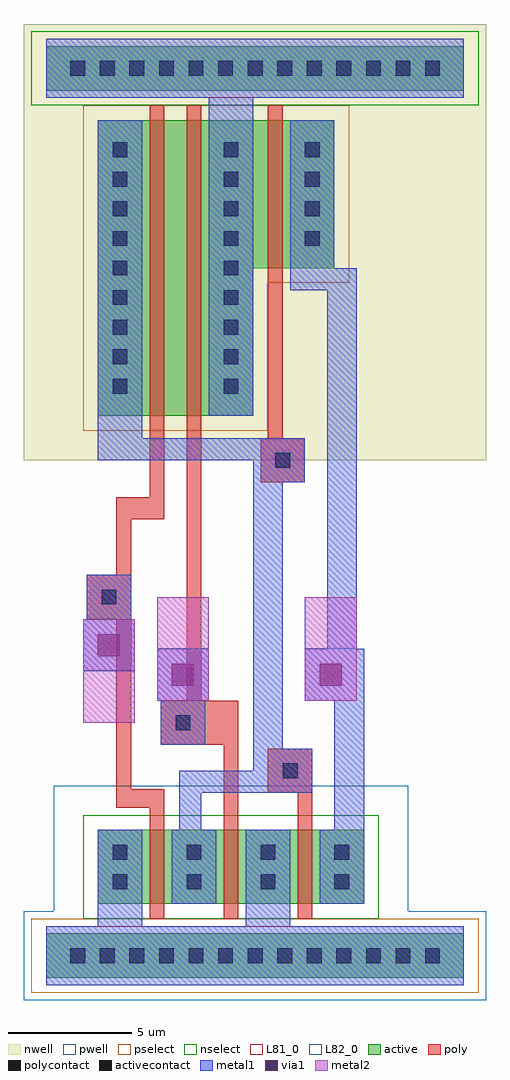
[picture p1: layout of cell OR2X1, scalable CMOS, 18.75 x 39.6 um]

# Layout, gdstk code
import gdstk
lib = gdstk.Library(unit=1e-6, precision=1e-09)
def R(c, l, rs):  # rectangles x0, y0, x1, y1
    for r in rs: c.add(gdstk.rectangle(r[:2], r[2:], *l))
def A(c, l, x, y, w, h, nx, ny, dx, dy):  # array of equal rectangles
    R(c, l, [(x+i*dx, y+j*dy, x+i*dx+w, y+j*dy+h) for i in range(nx) for j in range(ny)])
pwell = (41, 0)
nwell = (42, 0)
active = (43, 0)
pselect = (44, 0)
nselect = (45, 0)
poly = (46, 0)
polycontact = (47, 0)
activecontact = (48, 0)
metal1 = (49, 0)
via1 = (50, 0)
metal2 = (51, 0)
L81_0 = (81, 0)
L82_0 = (82, 0)

or2x1 = lib.new_cell('OR2X1')
R(or2x1, pwell, [(-1.95,-1.8,16.8,1.8), (-0.75,1.8,13.65,6.9)])
R(or2x1, nwell, [(-1.95,20.1,16.8,37.8)])
R(or2x1, active, [(-1.05,-0.9,15.9,0.9), (1.05,2.1,11.85,5.1), (1.05,21.9,7.35,27.9), (1.05,27.9,10.65,33.9), (-1.05,35.1,15.9,36.9)])
R(or2x1, pselect, [(-1.65,-1.5,16.5,1.5), (0.45,21.3,7.95,27.3), (0.45,27.3,11.25,34.5)])
R(or2x1, nselect, [(0.45,1.5,12.45,5.7), (-1.65,34.5,16.5,37.5)])
R(or2x1, poly, [(3.15,1.5,3.75,6), (6.15,1.5,6.75,8.55), (9.15,1.5,9.75,6.6), (1.8,6,3.75,6.75), (7.95,6.6,9.75,8.4), (1.8,6.75,2.4,13.65), (3.6,8.55,6.75,10.35), (4.65,10.35,5.25,34.5), (0.6,13.65,2.4,15.45), (1.8,15.45,2.4,17.7), (1.8,17.7,3.75,18.6), (3.15,18.6,3.75,34.5), (7.65,19.2,9.45,21), (7.95,21,8.55,34.5)])
R(or2x1, polycontact, [(8.55,7.2,9.15,7.8), (4.2,9.15,4.8,9.75), (1.2,14.25,1.8,14.85), (8.25,19.8,8.85,20.4)])
A(or2x1, activecontact, -0.07, -0.3, 0.6, 0.6, 13, 2, 1.2, 36)
A(or2x1, activecontact, 1.65, 2.7, 0.6, 0.6, 4, 2, 3, 1.2)
A(or2x1, activecontact, 1.65, 22.8, 0.6, 0.6, 1, 9, 0, 1.2)
A(or2x1, activecontact, 6.15, 22.8, 0.6, 0.6, 1, 9, 0, 1.2)
A(or2x1, activecontact, 9.45, 28.8, 0.6, 0.6, 1, 4, 0, 1.2)
R(or2x1, metal1, [(-1.05,-1.2,15.9,1.2), (1.05,1.2,2.85,5.1), (7.05,1.2,8.85,5.1), (4.05,2.1,5.85,5.1), (10.05,2.1,11.85,5.1), (4.35,5.1,5.25,6.6), (10.65,5.1,11.85,10.35), (4.35,6.6,9.75,7.5), (7.35,7.5,9.75,8.4), (7.35,8.4,8.55,19.2), (3.6,8.55,5.4,10.35), (3.45,10.35,5.55,12.45), (9.45,10.35,11.85,12.45), (0.45,11.55,2.55,13.65), (10.35,12.45,11.55,27), (0.6,13.65,2.4,15.45), (7.35,19.2,9.45,20.1), (1.05,20.1,9.45,21), (1.05,21,2.85,33.9), (5.55,21.9,7.35,34.8), (8.85,27,11.55,27.9), (8.85,27.9,10.65,33.9), (-1.05,34.8,15.9,37.2)])
R(or2x1, via1, [(4.05,10.95,4.95,11.85), (10.05,10.95,10.95,11.85), (1.05,12.15,1.95,13.05)])
R(or2x1, metal2, [(0.45,9.45,2.55,13.65), (3.45,10.35,5.55,14.55), (9.45,10.35,11.55,14.55)])
R(or2x1, L81_0, [(-1.05,-1.2,15.9,1.2), (-1.05,34.8,15.9,37.2)])
R(or2x1, L82_0, [(0.45,9.45,2.55,11.55), (3.45,12.45,5.55,14.55), (9.45,12.45,11.55,14.55)])

lib.write_gds('OR2X1.gds')
